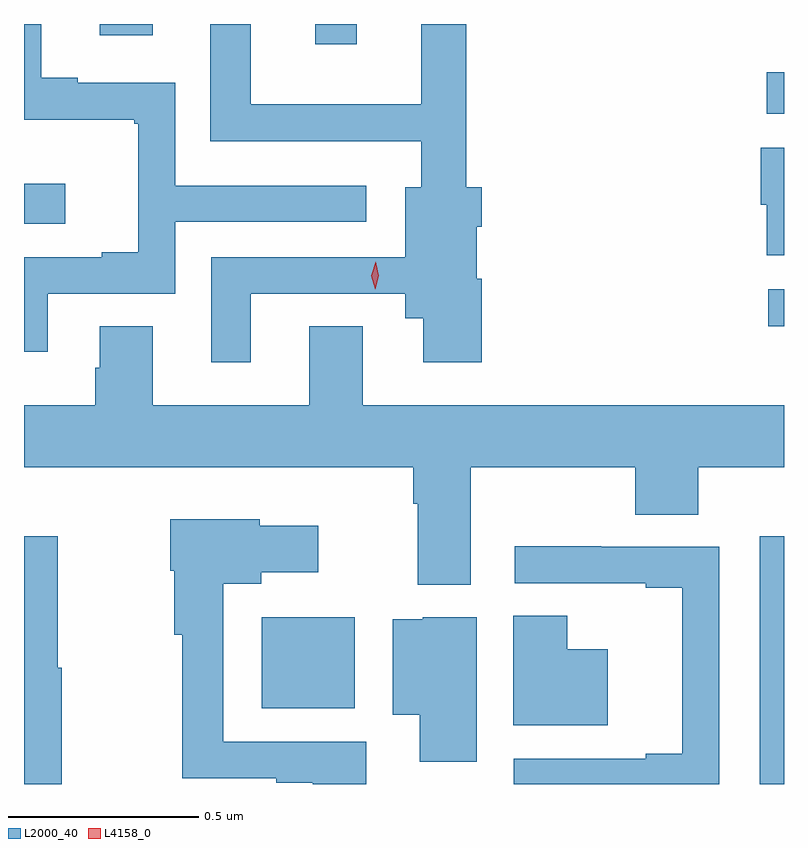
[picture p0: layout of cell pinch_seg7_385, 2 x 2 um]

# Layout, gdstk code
import gdstk
lib = gdstk.Library(unit=1e-6, precision=1e-09)
def R(c, l, rs):  # rectangles x0, y0, x1, y1
    for r in rs: c.add(gdstk.rectangle(r[:2], r[2:], *l))
def P(c, l, *ps):  # polygons
    for p in ps: c.add(gdstk.Polygon(p, *l))
L2000_40 = (2000, 40)
L4158_0 = (4158, 0)

pinch_seg7_385 = lib.new_cell('pinch_seg7_385')
R(pinch_seg7_385, L2000_40, [(461.711,1029.087,461.775,1029.739), (460.4,1029.287,460.645,1029.526), (461.733,1030.292,461.775,1030.389), (459.775,1030.562,459.883,1030.666), (461.73,1030.851,461.775,1030.96), (460.541,1031.034,460.651,1031.087), (459.974,1031.058,460.114,1031.087)])
P(pinch_seg7_385, L2000_40, [(460.372,1030.377),(460.778,1030.377),(460.778,1030.313),(460.826,1030.313),(460.826,1030.197),(460.979,1030.197),(460.979,1030.417),(460.966,1030.417),(460.966,1030.553),(460.979,1030.553),(460.979,1030.657),(460.939,1030.657),(460.939,1031.087),(460.82,1031.087),(460.82,1030.876),(460.372,1030.876),(460.372,1031.087),(460.265,1031.087),(460.265,1030.779),(460.82,1030.779),(460.82,1030.657),(460.778,1030.657),(460.778,1030.473),(460.268,1030.473),(460.268,1030.197),(460.372,1030.197)],
  [(459.838,1030.377),(460.173,1030.377),(460.173,1030.566),(460.675,1030.566),(460.675,1030.662),(460.173,1030.662),(460.173,1030.932),(459.916,1030.932),(459.916,1030.945),(459.82,1030.945),(459.82,1031.087),(459.775,1031.087),(459.775,1030.835),(460.065,1030.835),(460.065,1030.824),(460.076,1030.824),(460.076,1030.486),(459.98,1030.486),(459.98,1030.473),(459.775,1030.473),(459.775,1030.224),(459.838,1030.224)],
  [(461.775,1030.762),(461.714,1030.762),(461.714,1030.611),(461.729,1030.611),(461.729,1030.478),(461.775,1030.478)],
  [(460.951,1029.92),(461.383,1029.92),(461.383,1029.796),(461.549,1029.796),(461.549,1029.92),(461.775,1029.92),(461.775,1030.084),(460.666,1030.084),(460.666,1030.292),(460.526,1030.292),(460.526,1030.084),(460.114,1030.084),(460.114,1030.292),(459.974,1030.292),(459.974,1030.182),(459.962,1030.182),(459.962,1030.084),(459.775,1030.084),(459.775,1029.92),(460.799,1029.92),(460.799,1029.824),(460.811,1029.824),(460.811,1029.611),(460.951,1029.611)],
  [(460.675,1029.198),(460.299,1029.198),(460.299,1029.614),(460.399,1029.614),(460.399,1029.644),(460.549,1029.644),(460.549,1029.766),(460.395,1029.766),(460.395,1029.784),(460.16,1029.784),(460.16,1029.648),(460.171,1029.648),(460.171,1029.48),(460.191,1029.48),(460.191,1029.102),(460.439,1029.102),(460.439,1029.09),(460.535,1029.09),(460.535,1029.087),(460.675,1029.087)],
  [(459.874,1029.393),(459.864,1029.393),(459.864,1029.739),(459.775,1029.739),(459.775,1029.087),(459.874,1029.087)],
  [(461.604,1029.711),(461.294,1029.711),(461.294,1029.713),(461.067,1029.713),(461.067,1029.615),(461.411,1029.615),(461.411,1029.603),(461.507,1029.603),(461.507,1029.166),(461.411,1029.166),(461.411,1029.153),(461.064,1029.153),(461.064,1029.087),(461.604,1029.087)],
  [(461.311,1029.442),(461.205,1029.442),(461.205,1029.53),(461.063,1029.53),(461.063,1029.242),(461.311,1029.242)],
  [(460.966,1029.526),(460.824,1029.526),(460.824,1029.52),(460.745,1029.52),(460.745,1029.269),(460.817,1029.269),(460.817,1029.145),(460.966,1029.145)])
P(pinch_seg7_385, L4158_0, [(460.699,1030.389),(460.699,1030.389),(460.689,1030.425),(460.7,1030.461),(460.7,1030.461),(460.7,1030.461),(460.709,1030.425),(460.699,1030.389)])

lib.write_gds('pinch_seg7_385.gds')
